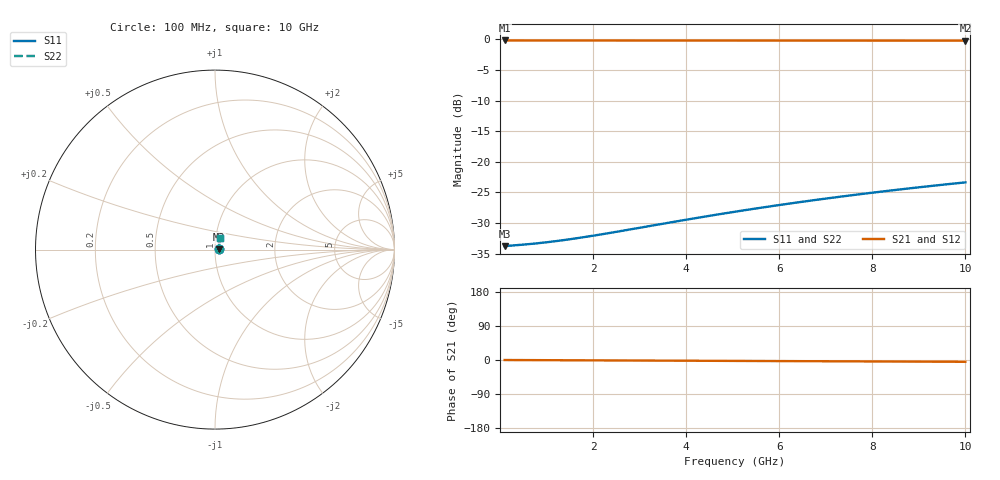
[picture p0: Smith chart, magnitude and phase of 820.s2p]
# Hz S RI R 50.00
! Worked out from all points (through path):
!   100 points, 100 MHz to 10 GHz, reference 50 ohm
!   highest |S21| = -0.18 dB at 100 MHz (marker M1); lowest = -0.2 dB at 10 GHz (marker M2)
!   lowest |S11| = -33.8 dB at 100 MHz (marker M3), VSWR 1.04, Z = 52.1 + j0.0654 ohm
!   |S11| at or under -10 dB: start of sweep to end of sweep
!   |S22| runs from -33.8 to -23.4 dB; largest |S21 - S12| = 1e-13
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1e8  0.0204 0.000628  0.9796 -0.000814  0.9796 -0.000814  0.0204 0.000628
6e8  0.0209 0.00376  0.9791 -0.00488  0.9791 -0.00488  0.0209 0.00376
8e8  0.021 0.00501  0.979 -0.00651  0.979 -0.00651  0.021 0.00501
1e9  0.0211 0.00627  0.9789 -0.00813  0.9789 -0.00813  0.0211 0.00627
1.2e9  0.0212 0.00752  0.9788 -0.00976  0.9788 -0.00976  0.0212 0.00752
1.4e9  0.0213 0.00877  0.9787 -0.0114  0.9787 -0.0114  0.0213 0.00877
1.8e9  0.0214 0.0113  0.9786 -0.0146  0.9786 -0.0146  0.0214 0.0113
2.1e9  0.0216 0.0131  0.9784 -0.0171  0.9784 -0.0171  0.0216 0.0131
2.4e9  0.0217 0.015  0.9783 -0.0195  0.9783 -0.0195  0.0217 0.015
3.4e9  0.0221 0.0213  0.9778 -0.0276  0.9778 -0.0276  0.0221 0.0213
4.3e9  0.0226 0.0269  0.9773 -0.0349  0.9773 -0.0349  0.0226 0.0269
4.7e9  0.0228 0.0294  0.9771 -0.0382  0.9771 -0.0382  0.0228 0.0294
5.1e9  0.0231 0.0319  0.9769 -0.0414  0.9769 -0.0414  0.0231 0.0319
5.5e9  0.0233 0.0344  0.9766 -0.0446  0.9766 -0.0446  0.0233 0.0344
5.9e9  0.0236 0.0368  0.9763 -0.0479  0.9763 -0.0479  0.0236 0.0368
6.3e9  0.0239 0.0393  0.976 -0.0511  0.976 -0.0511  0.0239 0.0393
6.7e9  0.0242 0.0418  0.9757 -0.0543  0.9757 -0.0543  0.0242 0.0418
7.5e9  0.0248 0.0468  0.975 -0.0608  0.975 -0.0608  0.0248 0.0468
7.9e9  0.0252 0.0492  0.9747 -0.064  0.9747 -0.064  0.0252 0.0492
8.4e9  0.0257 0.0523  0.9742 -0.068  0.9742 -0.068  0.0257 0.0523
9.2e9  0.0264 0.0573  0.9734 -0.0744  0.9734 -0.0744  0.0264 0.0573
1e10  0.0273 0.0622  0.9725 -0.0809  0.9725 -0.0809  0.0273 0.0622
